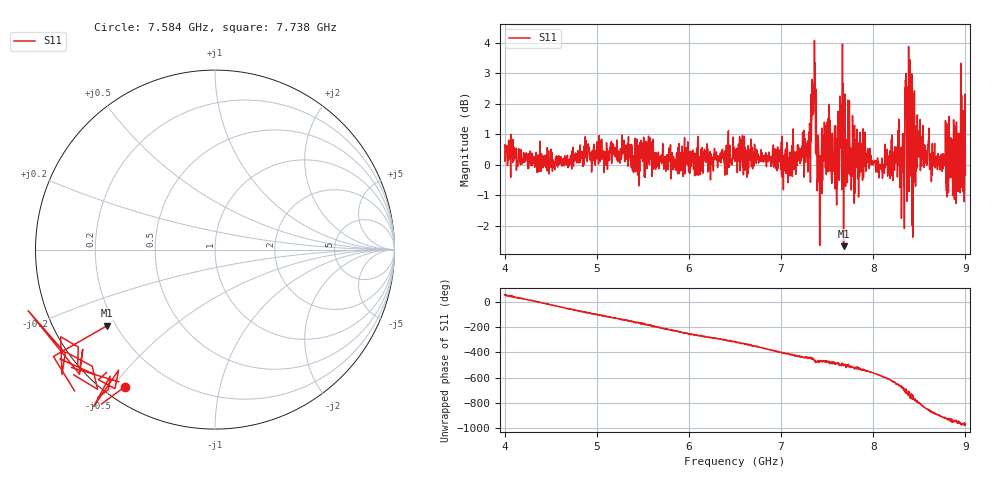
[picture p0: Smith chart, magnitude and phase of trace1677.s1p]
! Created with skrf 1.8.0 (http://scikit-rf.org).
# Hz S RI R 50.0
!freq ReS11 ImS11
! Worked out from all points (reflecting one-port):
!   1601 points, 4 GHz to 9 GHz, reference 50 ohm
!   lowest |S11| = -2.7 dB at 7.678 GHz (marker M1), VSWR 6.59, Z = 8.34 - j15.4 ohm
!   phase of S11 starts at 56 deg and turns -1024 deg over the sweep
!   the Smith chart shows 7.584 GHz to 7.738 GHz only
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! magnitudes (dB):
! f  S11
! 4 GHz  0.6
! 4.625 GHz  0.0
! 5.25 GHz  0.1
! 5.875 GHz  0.2
! 6.5 GHz  0.1
! 7.125 GHz  0.5
! 7.294 GHz  0.4
! 7.356 GHz  2.6
! 7.409 GHz  0.4
! 7.478 GHz  1.3
! 7.588 GHz  0.6
! 7.65 GHz  1.6
! 7.678 GHz  -2.7
! 7.75 GHz  -0.2
! 7.775 GHz  1.6
! 7.878 GHz  0.6
! 8.084 GHz  -0.1
! 8.259 GHz  0.6
! 8.312 GHz  0.4
! 8.334 GHz  -0.2
! 8.375 GHz  1.6
! 8.394 GHz  0.8
! 8.412 GHz  0.7
! 8.447 GHz  2.4
! 8.466 GHz  -0.2
! 8.769 GHz  0.0
! 8.972 GHz  1.1
! 9 GHz  -0.3
